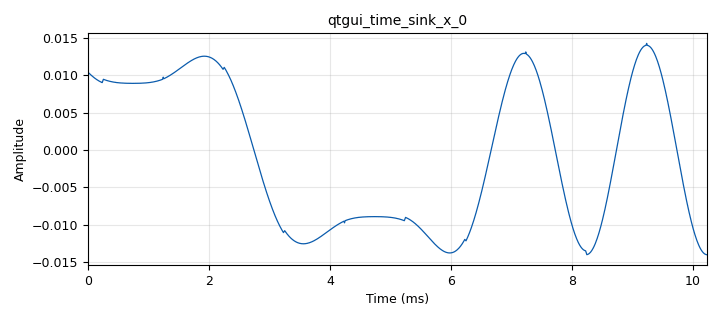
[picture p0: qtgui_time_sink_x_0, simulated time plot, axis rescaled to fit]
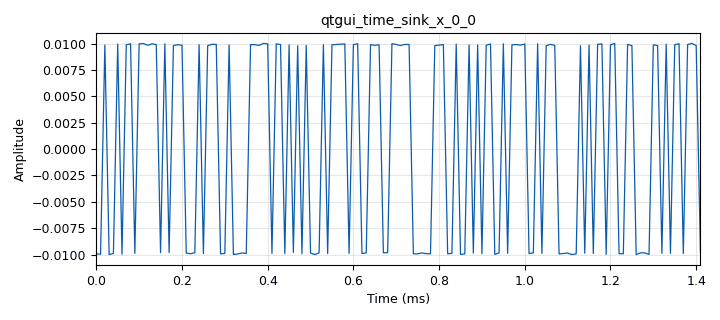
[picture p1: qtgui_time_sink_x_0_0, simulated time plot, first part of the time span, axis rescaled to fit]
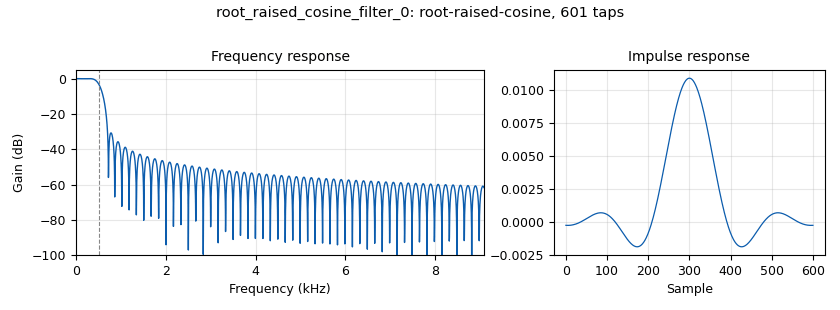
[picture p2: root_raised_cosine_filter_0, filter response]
options:
  parameters:
    generate_options: qt_gui
    id: impulse_RRC_pulse_shaping
    output_language: python
    title: Impulse RRC pulse shaping
  states: {}

blocks:
- name: samp_rate
  id: variable
  parameters:
    value: '100000'
  states: {}
- name: symbol_rate
  id: variable
  parameters:
    value: '1000'
  states: {}
- name: blocks_throttle_0
  id: blocks_throttle
  parameters:
    samples_per_second: samp_rate
    type: float
  states: {}
- name: digital_glfsr_source_x_0
  id: digital_glfsr_source_x
  parameters:
    degree: '10'
    mask: '0'
    repeat: 'True'
    seed: '1'
    type: float
  states: {}
- name: qtgui_time_sink_x_0
  id: qtgui_time_sink_x
  parameters:
    size: '1024'
    srate: samp_rate
    type: float
  states: {}
- name: qtgui_time_sink_x_0_0
  id: qtgui_time_sink_x
  parameters:
    size: '1024'
    srate: samp_rate
    type: float
  states: {}
- name: root_raised_cosine_filter_0
  id: root_raised_cosine_filter
  parameters:
    alpha: '0.35'
    gain: '1'
    interp: samp_rate//symbol_rate
    ntaps: '600'
    samp_rate: samp_rate
    sym_rate: symbol_rate
    type: interp_fir_filter_fff
  states: {}
- name: root_raised_cosine_filter_0_0
  id: root_raised_cosine_filter
  parameters:
    alpha: '0.35'
    decim: samp_rate//symbol_rate
    gain: '1'
    interp: samp_rate//symbol_rate
    ntaps: '600'
    samp_rate: samp_rate
    sym_rate: symbol_rate
    type: fir_filter_fff
  states: {}
- name: virtual_sink_0
  id: virtual_sink
  parameters:
    stream_id: channel
  states: {}
- name: virtual_source_0
  id: virtual_source
  parameters:
    stream_id: channel
  states: {}

connections:
- [blocks_throttle_0, '0', root_raised_cosine_filter_0, '0']
- [digital_glfsr_source_x_0, '0', blocks_throttle_0, '0']
- [root_raised_cosine_filter_0, '0', qtgui_time_sink_x_0, '0']
- [root_raised_cosine_filter_0, '0', virtual_sink_0, '0']
- [root_raised_cosine_filter_0_0, '0', qtgui_time_sink_x_0_0, '0']
- [virtual_source_0, '0', root_raised_cosine_filter_0_0, '0']

metadata:
  file_format: 1
